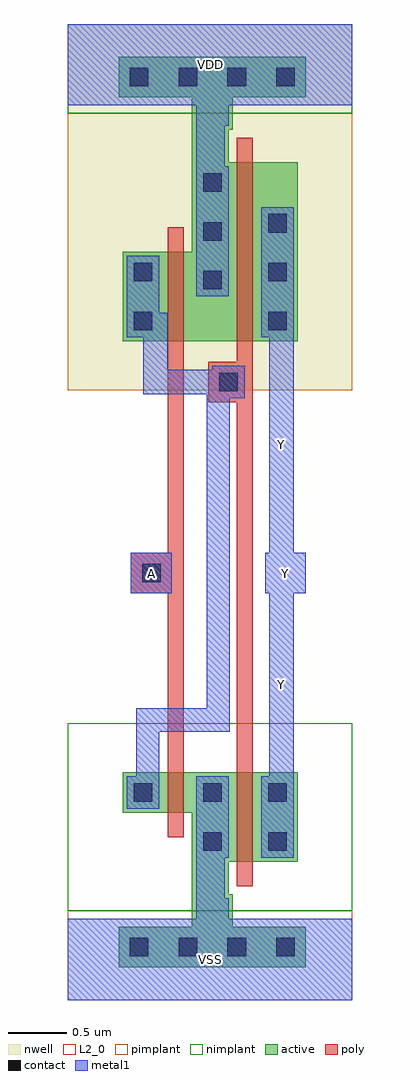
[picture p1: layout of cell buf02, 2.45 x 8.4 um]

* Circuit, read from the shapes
.subckt buf02 A VDD VSS Y
M1 VSS A n1 VSS nfet w=0.35u l=0.14u
M2 Y n1 VSS VSS nfet w=0.77u l=0.14u
M3 VDD A n1 VDD pfet w=0.77u l=0.14u
M4 Y n1 VDD VDD pfet w=1.54u l=0.14u
.ends

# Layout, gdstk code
import gdstk
lib = gdstk.Library(unit=1e-6, precision=1e-09)
def R(c, l, rs):  # rectangles x0, y0, x1, y1
    for r in rs: c.add(gdstk.rectangle(r[:2], r[2:], *l))
def A(c, l, x, y, w, h, nx, ny, dx, dy):  # array of equal rectangles
    R(c, l, [(x+i*dx, y+j*dy, x+i*dx+w, y+j*dy+h) for i in range(nx) for j in range(ny)])
def P(c, l, *ps):  # polygons
    for p in ps: c.add(gdstk.Polygon(p, *l))
L2_0 = (2, 0)
nwell = (3, 0)
active = (6, 0)
poly = (17, 0)
pimplant = (25, 0)
nimplant = (26, 0)
contact = (30, 0)
metal1 = (31, 0)

adk_poly_m1 = lib.new_cell('ADK_poly_m1')
R(adk_poly_m1, poly, [(-0.175,-0.175,0.175,0.175)])
R(adk_poly_m1, contact, [(-0.08,-0.08,0.08,0.08)])
R(adk_poly_m1, metal1, [(-0.175,-0.175,0.175,0.175)])

buf02 = lib.new_cell('buf02')
R(buf02, L2_0, [(0,0,2.45,2.38)])
R(buf02, nwell, [(0,5.25,2.45,8.4)])
R(buf02, active, [(0.44,0.28,2.05,0.63), (1.07,0.63,1.42,0.91), (1.07,0.91,1.385,1.19), (1.595,1.19,1.98,1.96), (0.475,1.61,0.86,1.96), (0.475,5.67,0.86,6.44), (1.595,5.67,1.98,7.21), (1.07,7.21,1.385,7.49), (1.07,7.49,1.42,7.77), (0.44,7.77,2.05,8.12)])
P(buf02, active, [(1.98,5.67),(1.98,7.21),(1.07,7.21),(1.07,6.44),(0.475,6.44),(0.475,5.67)],
  [(1.98,1.19),(1.98,1.96),(0.475,1.96),(0.475,1.61),(1.07,1.61),(1.07,1.19)])
R(buf02, poly, [(1.455,0.98,1.595,1.19), (1.455,1.19,1.595,1.96), (0.86,1.4,1,1.61), (0.86,1.61,1,1.96), (0.86,1.96,1,2.17), (1.455,1.96,1.595,2.17), (0.86,2.135,1,5.495), (1.455,2.135,1.595,5.495), (1.21,5.145,1.56,5.495), (0.86,5.46,1,5.67), (1.455,5.46,1.595,5.67), (0.86,5.67,1,6.44), (1.455,5.67,1.595,7.21), (0.86,6.44,1,6.65), (1.455,7.21,1.595,7.42)])
R(buf02, pimplant, [(0,0,2.45,0.77), (0,5.25,2.45,7.63)])
R(buf02, nimplant, [(0,0.77,2.45,2.38), (0,7.63,2.45,8.4)])
A(buf02, contact, 0.535, 0.375, 0.16, 0.16, 4, 2, 0.42, 7.49)
A(buf02, contact, 1.725, 5.765, 0.16, 0.16, 1, 3, 0, 0.42)
A(buf02, contact, 1.165, 6.115, 0.16, 0.16, 1, 3, 0, 0.42)
R(buf02, contact, [(1.165,1.285,1.325,1.445), (1.725,1.285,1.885,1.445), (0.57,1.705,0.73,1.865), (1.165,1.705,1.325,1.865), (1.725,1.705,1.885,1.865), (1.305,5.24,1.465,5.4), (0.57,5.765,0.73,5.925), (0.57,6.185,0.73,6.345)])
R(buf02, metal1, [(0,0,2.45,0.7), (1.105,0.7,1.385,0.875), (1.105,0.875,1.35,1.225), (1.105,1.225,1.385,1.925), (1.665,1.225,1.945,1.925), (0.51,1.645,0.79,1.925), (1.735,1.925,1.945,3.5), (0.545,3.5,0.895,3.85), (1.7,3.5,2.05,3.85), (1.7,3.5,2.05,3.85), (1.735,3.85,1.945,5.705), (1.245,5.18,1.525,5.46), (0.65,5.215,1.245,5.425), (0.51,5.705,0.79,6.405), (1.665,5.705,1.945,6.825), (1.105,6.055,1.385,7.175), (1.105,7.175,1.35,7.525), (1.105,7.525,1.385,7.7), (0,7.7,2.45,8.4)])
P(buf02, metal1, [(0.58,5.705),(0.65,5.705),(0.65,5.215),(0.86,5.215),(0.86,5.915),(0.58,5.915)],
  [(0.59,1.725),(0.79,1.725),(0.79,2.31),(1.395,2.31),(1.395,5.415),(1.045,5.415),(1.045,5.215),(1.195,5.215),(1.195,2.51),(0.59,2.51)])
buf02.add(gdstk.Reference(adk_poly_m1, (0.72,3.675)))
buf02.add(gdstk.Label('Y', (1.875,3.675), layer=131, texttype=0))
buf02.add(gdstk.Label('VSS', (1.225,0.35), layer=131, texttype=0))
buf02.add(gdstk.Label('VDD', (1.225,8.05), layer=131, texttype=0))
buf02.add(gdstk.Label('A', (0.72,3.675), layer=131, texttype=0))
buf02.add(gdstk.Label('Y', (1.875,3.675), layer=31, texttype=0))
buf02.add(gdstk.Label('Y', (1.84,2.712), layer=31, texttype=0))
buf02.add(gdstk.Label('Y', (1.84,4.777), layer=31, texttype=0))
buf02.add(gdstk.Label('Y', (1.875,3.675), layer=31, texttype=0))
buf02.add(gdstk.Label('A', (0.72,3.675), layer=31, texttype=0))
buf02.add(gdstk.Label('VDD', (1.225,8.05), layer=31, texttype=0))
buf02.add(gdstk.Label('VSS', (1.225,0.35), layer=31, texttype=0))

lib.write_gds('buf02.gds')
